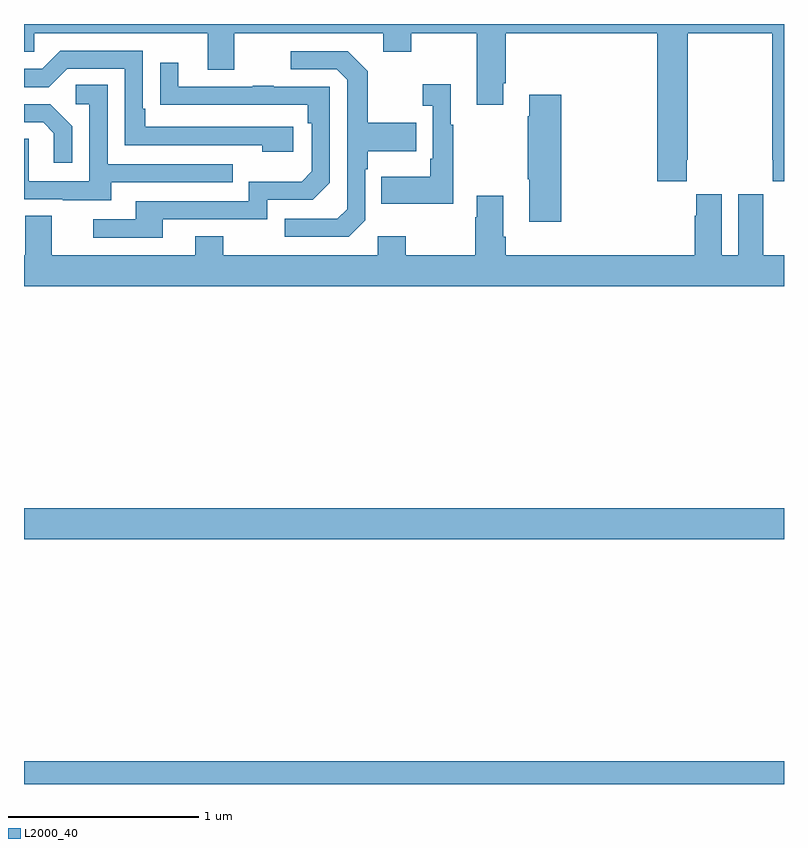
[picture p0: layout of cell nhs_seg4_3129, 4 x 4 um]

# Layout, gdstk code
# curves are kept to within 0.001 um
import gdstk
lib = gdstk.Library(unit=1e-6, precision=1e-09)
def R(c, l, rs):  # rectangles x0, y0, x1, y1
    for r in rs: c.add(gdstk.rectangle(r[:2], r[2:], *l))
def P(c, l, *ps):  # polygons
    for p in ps: c.add(gdstk.Polygon(p, *l))
L2000_40 = (2000, 40)

nhs_seg4_3129 = lib.new_cell('nhs_seg4_3129')
R(nhs_seg4_3129, L2000_40, [(277,760.9,281,761.02), (277,762.188,281,762.352)])
P(nhs_seg4_3129, L2000_40, [(280.487,764.185),(280.494,764.185),(280.494,764.852),(280.939,764.852),(280.939,764.185),(280.941,764.185),(280.941,764.073),(281,764.073),(281,764.9),(277,764.9),(277,764.754),(277.053,764.754),(277.053,764.852),(277.967,764.852),(277.967,764.658),(278.107,764.658),(278.107,764.852),(278.891,764.852),(278.891,764.753),(279.039,764.753),(279.039,764.852),(279.383,764.852),(279.383,764.475),(279.523,764.475),(279.523,764.587),(279.536,764.587),(279.536,764.852),(280.334,764.852),(280.334,764.073),(280.487,764.073)],
  [(278.416,764.358),(277.639,764.358),(277.639,764.455),(277.626,764.455),(277.626,764.76),(277.191,764.76),(277.095,764.664),(277,764.664),(277,764.568),(277.131,764.568),(277.227,764.664),(277.53,764.664),(277.53,764.262),(278.255,764.262),(278.255,764.228),(278.416,764.228)],
  [(278.796,763.866),(278.796,764.135),(278.809,764.135),(278.809,764.231),(279.065,764.231),(279.065,764.379),(278.809,764.379),(278.809,764.651),(278.703,764.757),(278.403,764.757),(278.403,764.661),(278.646,764.661),(278.7,764.607),(278.7,763.926),(278.649,763.875),(278.373,763.875),(278.373,763.779),(278.709,763.779)],
  [(277.729,763.872),(278.28,763.872),(278.28,763.974),(278.52,763.974),(278.61,764.064),(278.61,764.571),(278.315,764.571),(278.315,764.576),(278.203,764.576),(278.203,764.571),(277.813,764.571),(277.813,764.695),(277.717,764.695),(277.717,764.476),(278.494,764.475),(278.494,764.378),(278.514,764.378),(278.514,764.124),(278.461,764.071),(278.184,764.071),(278.184,763.968),(277.589,763.968),(277.589,763.872),(277.365,763.872),(277.365,763.776),(277.729,763.776)],
  [(279.259,764.371),(279.247,764.371),(279.247,764.584),(279.099,764.584),(279.099,764.471),(279.15,764.471),(279.15,764.191),(279.138,764.191),(279.138,764.095),(278.881,764.095),(278.881,763.955),(279.259,763.955)],
  [(277.459,764.067),(278.099,764.067),(278.099,764.163),(277.44,764.163),(277.44,764.579),(277.272,764.579),(277.272,764.478),(277.344,764.478),(277.344,764.073),(277.026,764.073),(277.026,764.297),(277,764.297),(277,763.977),(277.205,763.977),(277.205,763.973),(277.459,763.973)],
  [(279.827,764.527),(279.659,764.527),(279.659,764.414),(279.652,764.414),(279.652,764.083),(279.659,764.083),(279.659,763.86),(279.827,763.86)],
  [(277.254,764.362),(277.138,764.478),(277,764.478),(277,764.382),(277.1,764.382),(277.157,764.325),(277.157,764.169),(277.254,764.169)],
  [(281,763.684),(280.891,763.684),(280.891,763.892),(280.89,763.892),(280.89,764.005),(280.76,764.005),(280.76,763.684),(280.672,763.684),(280.672,764.005),(280.538,764.005),(280.538,763.892),(280.529,763.892),(280.529,763.684),(279.536,763.684),(279.536,763.78),(279.523,763.78),(279.523,763.996),(279.383,763.996),(279.383,763.883),(279.376,763.883),(279.376,763.684),(279.009,763.684),(279.009,763.783),(278.862,763.783),(278.862,763.684),(278.049,763.684),(278.049,763.783),(277.901,763.783),(277.901,763.684),(277.147,763.684),(277.147,763.892),(277.007,763.892),(277.007,763.684),(277,763.684),(277,763.52),(281,763.52)])

lib.write_gds('nhs_seg4_3129.gds')
